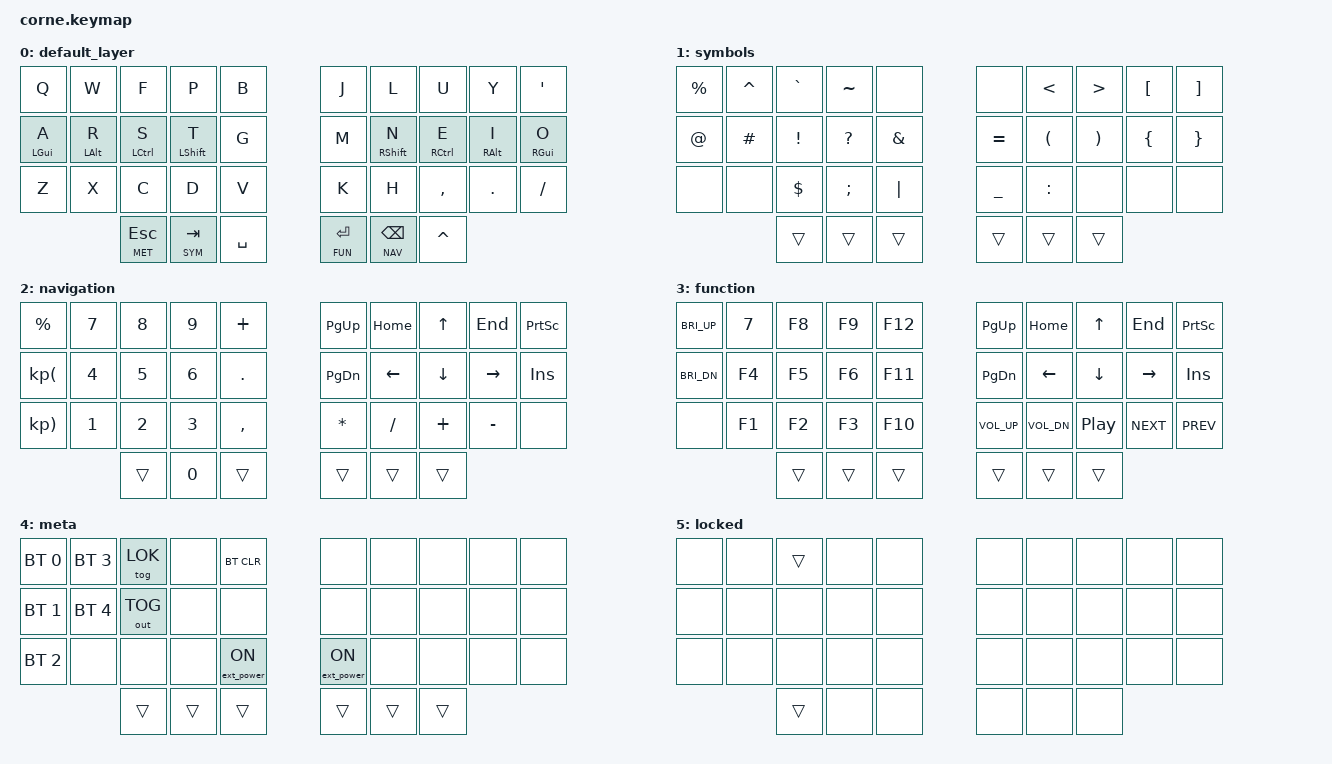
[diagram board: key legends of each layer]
#include <behaviors.dtsi>
#include <dt-bindings/zmk/keys.h>
#include <dt-bindings/zmk/bt.h>
#include <dt-bindings/zmk/ext_power.h>
#include <dt-bindings/zmk/outputs.h>

#define DEF 0
#define SYM 1
#define NAV 2
#define FUN 3
#define MET 4
#define LOK 5

&lt {
  tapping-term-ms = <160>;
  quick_tap_ms = <160>;
};

/ {

  chosen {
    zmk,matrix_transform = &five_column_transform;
  };

  behaviors {
    hm: homerow_mods {
      compatible = "zmk,behavior-hold-tap";
      label = "HOMEROW_MODS";
      #binding-cells = <2>;
      tapping-term-ms = <180>;
      quick_tap_ms = <180>;
      flavor = "tap-preferred";
      bindings = <&kp>, <&kp>;
    };
  };

  keymap {
    compatible = "zmk,keymap";

    default_layer {
      bindings = <
 &kp Q      &kp W      &kp F       &kp P        &kp B      &kp J       &kp L         &kp U       &kp Y      &kp APOS
 &hm LGUI A &hm LALT R &hm LCTRL S &hm LSHIFT T &kp G      &kp M       &hm RSHIFT N  &hm RCTRL E &hm RALT I &hm RGUI O
 &kp Z      &kp X      &kp C       &kp D        &kp V      &kp K       &kp H         &kp COMMA   &kp DOT    &kp FSLH
                       &lt MET ESC &lt SYM TAB  &kp SPACE  &lt FUN RET &lt NAV BSPC  &kp CARET
      >;
    };

    symbols {
      bindings = <
 &kp PRCNT  &kp CARET   &kp GRAVE  &kp TILDE  &none       &none      &kp LT        &kp GT       &kp LBKT  &kp RBKT
 &kp AT     &kp HASH    &kp EXCL   &kp QMARK  &kp AMPS    &kp EQUAL  &kp LPAR      &kp RPAR     &kp LBRC  &kp RBRC
 &none      &none       &kp DLLR   &kp SEMI   &kp PIPE    &kp UNDER  &kp COLN      &none        &none     &none
                        &trans     &trans     &trans      &trans     &trans        &trans
      >;
    };

    navigation {
      bindings = <
 &kp PRCNT   &kp N7 &kp N8 &kp N9  &kp PLUS    &kp PG_UP  &kp HOME      &kp UP       &kp END    &kp PSCRN
 &kp KP_LPAR &kp N4 &kp N5 &kp N6  &kp DOT     &kp PG_DN  &kp LEFT      &kp DOWN     &kp RIGHT  &kp INS
 &kp KP_RPAR &kp N1 &kp N2 &kp N3  &kp COMMA   &kp ASTRK  &kp FSLH      &kp PLUS     &kp MINUS  &none
                    &trans &kp N0  &trans      &trans     &trans        &trans
      >;
    };

    function {
      bindings = <
 &kp C_BRI_UP &kp N7 &kp F8 &kp F9  &kp F12    &kp PG_UP     &kp HOME      &kp UP     &kp END    &kp PSCRN
 &kp C_BRI_DN &kp F4 &kp F5 &kp F6  &kp F11    &kp PG_DN     &kp LEFT      &kp DOWN   &kp RIGHT  &kp INS
 &none        &kp F1 &kp F2 &kp F3  &kp F10    &kp C_VOL_UP  &kp C_VOL_DN  &kp C_PP   &kp C_NEXT &kp C_PREV
                     &trans &trans  &trans     &trans        &trans        &trans
      >;
    };

    meta {
      bindings = <
 &bt BT_SEL 0 &bt BT_SEL 3 &tog LOK     &none   &bt BT_CLR         &none            &none    &none  &none  &none
 &bt BT_SEL 1 &bt BT_SEL 4 &out OUT_TOG &none   &none              &none            &none    &none  &none  &none
 &bt BT_SEL 2 &none        &none        &none   &ext_power EP_ON   &ext_power EP_ON &none    &none  &none  &none
                           &trans       &trans  &trans             &trans          &trans   &trans
      >;
    };

    locked {
      bindings = <
 &none &none &trans &none  &none        &none  &none  &none &none &none
 &none &none &none  &none  &none        &none  &none  &none &none &none
 &none &none &none  &none  &none        &none  &none  &none &none &none
             &trans &none  &none        &none  &none  &none
      >;
    };

  };
};
